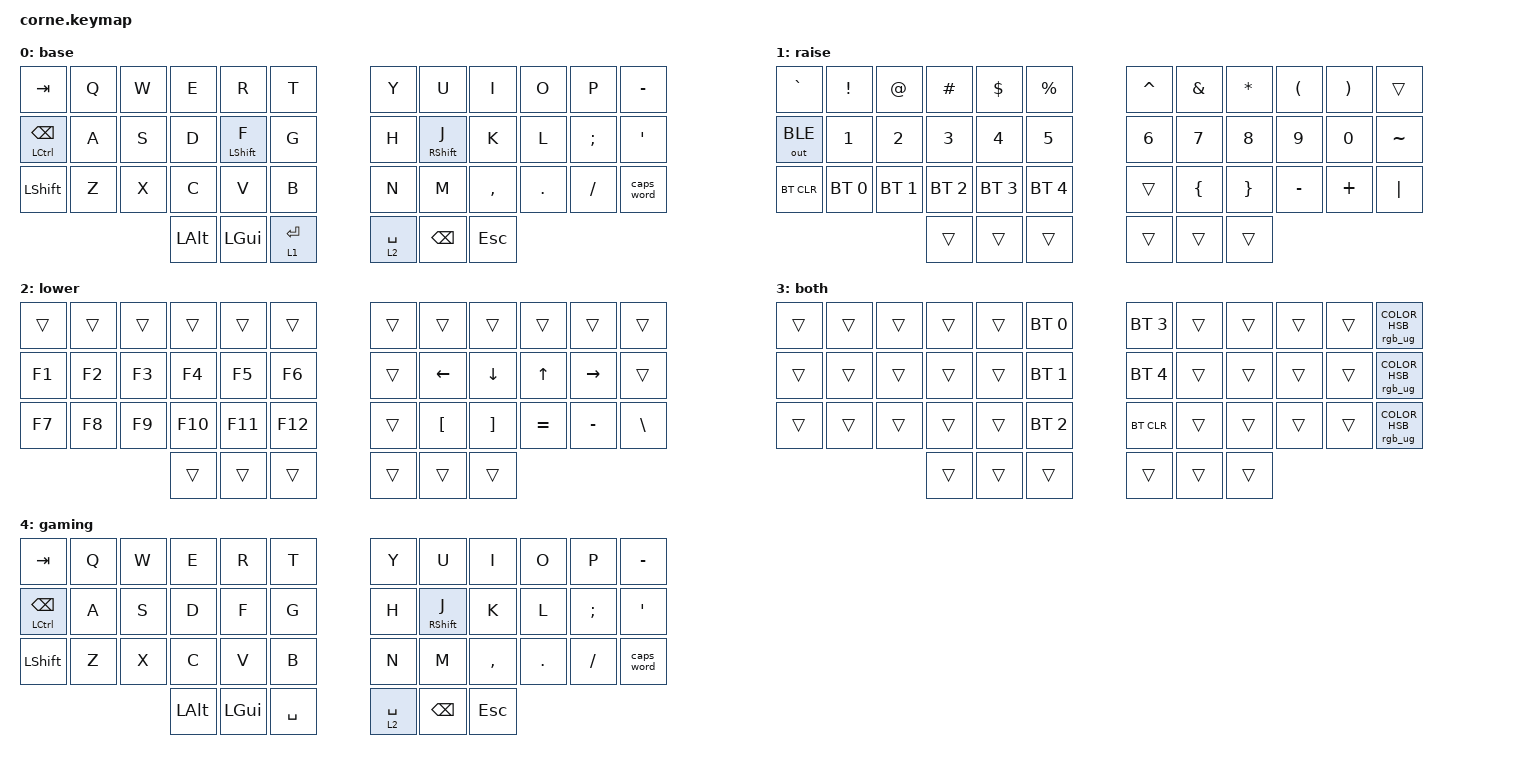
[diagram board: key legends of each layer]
/*
 * Copyright (c) 2020 The ZMK Contributors
 *
 * SPDX-License-Identifier: MIT
 */

#include <behaviors.dtsi>
#include <dt-bindings/zmk/bt.h>
#include <dt-bindings/zmk/keys.h>
#include <dt-bindings/zmk/outputs.h>
#include <dt-bindings/zmk/rgb.h>

// dt-formatter: indent = "  "
// dt-formatter: reindentMultilineIntegerCells = "dedent"

/ {
  behaviors {
    hm: homerow_mods {
      compatible = "zmk,behavior-hold-tap";
      label = "HOMEROW_MODS";
      #binding-cells = <2>;
      tapping-term-ms = <150>;
      quick-tap-ms = <0>;
      flavor = "tap-preferred";
      bindings =
        <&kp>,
        <&kp>;
    };
  };

  combos {
    compatible = "zmk,combos";

    tab {
      bindings = <&trans>;
      key-positions = <2 3>;
    };

    ctrl {
      bindings = <&kp LCTRL>;
      key-positions = <26 27>;
    };

    cmd {
      bindings = <&kp LCMD>;
      key-positions = <37 38>;
    };

    alt {
      bindings = <&kp LEFT_ALT>;
      key-positions = <39 40>;
    };

    shift {
      bindings = <&kp LSHIFT>;
      key-positions = <8 9>;
    };

    caps_word {
      bindings = <&caps_word>;
      key-positions = <17 18>;
    };

    delete {
      bindings = <&kp DEL>;
      key-positions = <32 33>;
    };

    perferble {
      bindings = <&out OUT_BLE>;
      key-positions = <0 1>;
    };

    perferusb {
      bindings = <&out OUT_USB>;
      key-positions = <12 13>;
    };

    gaminglayer {
      bindings = <&tog 4>;
      key-positions = <36 37 38>;
    };
  };

  macros {
    zed_em_kay: zed_em_kay {
      compatible = "zmk,behavior-macro";
      label = "ZM_zed_em_kay";
      #binding-cells = <0>;
      bindings =
        <&macro_press>,
        <&kp LSHFT>,
        <&macro_tap>,
        <&kp Z &kp M &kp K>,
        <&macro_release>,
        <&kp LSHFT>;
    };
  };

  keymap {
    compatible = "zmk,keymap";

    base {
      bindings = <
            &kp TAB  &kp Q  &kp W         &kp E         &kp R        &kp T          &kp Y          &kp U       &kp I    &kp O          &kp P   &kp MINUS
&mt LCTRL BACKSPACE  &kp A  &kp S         &kp D  &hm LSHIFT F        &kp G          &kp H   &hm RSHIFT J       &kp K    &kp L  &kp SEMICOLON    &kp APOS
          &kp LSHFT  &kp Z  &kp X         &kp C         &kp V        &kp B          &kp N          &kp M   &kp COMMA  &kp DOT       &kp FSLH  &caps_word
                                   &kp LEFT_ALT  &kp LEFT_GUI  &lt 1 ENTER    &lt 2 SPACE  &kp BACKSPACE  &kp ESCAPE
      >;
    };

    raise {
      bindings = <
   &kp GRAVE  &kp EXCLAMATION   &kp AT_SIGN     &kp POUND    &kp DOLLAR   &kp PERCENT       &kp CARET   &kp AMPERSAND     &kp ASTERISK  &kp LEFT_PARENTHESIS  &kp RIGHT_PARENTHESIS     &trans
&out OUT_BLE     &kp NUMBER_1  &kp NUMBER_2  &kp NUMBER_3  &kp NUMBER_4  &kp NUMBER_5    &kp NUMBER_6    &kp NUMBER_7     &kp NUMBER_8          &kp NUMBER_9           &kp NUMBER_0  &kp TILDE
  &bt BT_CLR     &bt BT_SEL 0  &bt BT_SEL 1  &bt BT_SEL 2  &bt BT_SEL 3  &bt BT_SEL 4          &trans  &kp LEFT_BRACE  &kp RIGHT_BRACE             &kp MINUS               &kp PLUS   &kp PIPE
                                                   &trans        &trans        &trans          &trans          &trans           &trans
      >;
    };

    lower {
      bindings = <
&trans  &trans  &trans   &trans   &trans   &trans    &trans            &trans             &trans        &trans     &trans         &trans
&kp F1  &kp F2  &kp F3   &kp F4   &kp F5   &kp F6    &trans    &kp LEFT_ARROW           &kp DOWN  &kp UP_ARROW  &kp RIGHT         &trans
&kp F7  &kp F8  &kp F9  &kp F10  &kp F11  &kp F12    &trans  &kp LEFT_BRACKET  &kp RIGHT_BRACKET     &kp EQUAL  &kp MINUS  &kp BACKSLASH
                         &trans   &trans   &trans    &trans            &trans             &trans
      >;
    };

    both {
      bindings = <
&trans  &trans  &trans  &trans  &trans  &bt BT_SEL 0    &bt BT_SEL 3  &trans  &trans  &trans  &trans    &rgb_ug RGB_COLOR_HSB(0,60,50)
&trans  &trans  &trans  &trans  &trans  &bt BT_SEL 1    &bt BT_SEL 4  &trans  &trans  &trans  &trans  &rgb_ug RGB_COLOR_HSB(120,60,50)
&trans  &trans  &trans  &trans  &trans  &bt BT_SEL 2      &bt BT_CLR  &trans  &trans  &trans  &trans  &rgb_ug RGB_COLOR_HSB(240,60,50)
                        &trans  &trans        &trans          &trans  &trans  &trans
      >;
    };

    gaming {
      bindings = <
            &kp TAB  &kp Q  &kp W         &kp E         &kp R      &kp T          &kp Y          &kp U       &kp I    &kp O          &kp P   &kp MINUS
&mt LCTRL BACKSPACE  &kp A  &kp S         &kp D         &kp F      &kp G          &kp H   &hm RSHIFT J       &kp K    &kp L  &kp SEMICOLON    &kp APOS
          &kp LSHFT  &kp Z  &kp X         &kp C         &kp V      &kp B          &kp N          &kp M   &kp COMMA  &kp DOT       &kp FSLH  &caps_word
                                   &kp LEFT_ALT  &kp LEFT_GUI  &kp SPACE    &lt 2 SPACE  &kp BACKSPACE  &kp ESCAPE
      >;
    };
  };
};
